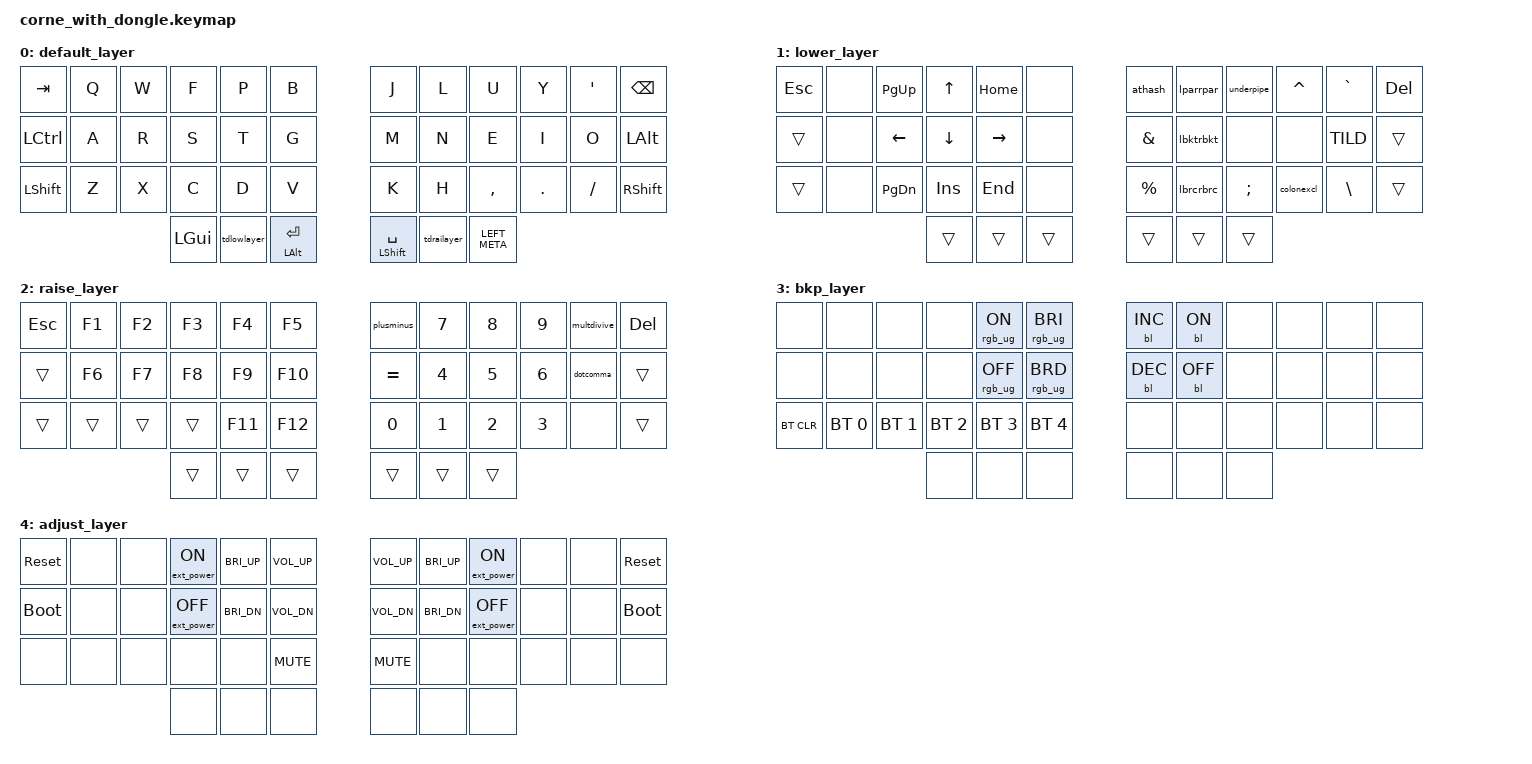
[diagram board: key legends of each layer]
/*
 * Copyright (c) 2020 The ZMK Contributors
 *
 * SPDX-License-Identifier: MIT
 */

#include <behaviors.dtsi>
#include <dt-bindings/zmk/keys.h>
#include <dt-bindings/zmk/bt.h>
#include <dt-bindings/zmk/rgb.h>
#include <dt-bindings/zmk/backlight.h>
#include <dt-bindings/zmk/ext_power.h>

#define DEFAULT 0
#define LOW_L   1
#define RAI_L   2
#define BKS_L   3
#define ADJ_L   4

/ {
        conditional_layers {
                compatible = "zmk,conditional-layers";
                one_and_two_layer {
                        if-layers = <LOW_L RAI_L>;
                        then-layer = <BKS_L>;
                };
                /*
                one_and_tree_layer {
                        if-layers = <1 3>;
                        then-layer = <4>;
                };
                two_and_tree_layer {
                        if-layers = <2 3>;
                        then-layer = <4>;
                };*/
        };
       
        behaviors {               
                colonexcl: colon_excl {
                        compatible = "zmk,behavior-mod-morph";
                        label = "COLON_EXCL";
                        #binding-cells = <0>;
                        bindings = <&kp COLON>, <&kp EXCL>;
                        mods = <(MOD_LSFT|MOD_RSFT)>;
                };
                underpipe: under_pipe {
                        compatible = "zmk,behavior-mod-morph";
                        label = "UNDER_PIPE";
                        #binding-cells = <0>;
                        bindings = <&kp UNDER>, <&kp PIPE>;
                        mods = <(MOD_LSFT|MOD_RSFT)>;
                };
                athash: at_hash {
                        compatible = "zmk,behavior-mod-morph";
                        label = "AT_HASH";
                        #binding-cells = <0>;
                        bindings = <&kp AT>, <&kp HASH>;
                        mods = <(MOD_LSFT|MOD_RSFT)>;
                };
                bkspdel: bksp_del {
                        compatible = "zmk,behavior-mod-morph";
                        label = "BKSP_DEL";
                        #binding-cells = <0>;
                        bindings = <&kp BKSP>, <&kp DEL>;
                        mods = <(MOD_LSFT|MOD_RSFT)>;
                };
                lparrpar: lpar_rpar {
                        compatible = "zmk,behavior-mod-morph";
                        label = "LPAR_RPAR";
                        #binding-cells = <0>;
                        bindings = <&kp LPAR>, <&kp RPAR>;
                        mods = <(MOD_LSFT|MOD_RSFT)>;
                };
                lbktrbkt: lbkt_rbkt {
                        compatible = "zmk,behavior-mod-morph";
                        label = "LBKT_RBKT";
                        #binding-cells = <0>;
                        bindings = <&kp LBKT>, <&kp RBKT>;
                        mods = <(MOD_LSFT|MOD_RSFT)>;
                };
                lbrcrbrc: lbrc_rbrc {
                        compatible = "zmk,behavior-mod-morph";
                        label = "LBRC_RBRC";
                        #binding-cells = <0>;
                        bindings = <&kp LBRC>, <&kp RBRC>;
                        mods = <(MOD_LSFT|MOD_RSFT)>;
                };
                plusminus: plus_minus {
                        compatible = "zmk,behavior-mod-morph";
                        label = "PLUS_MINUS";
                        #binding-cells = <0>;
                        bindings = <&kp KP_PLUS>, <&kp KP_MINUS>;
                        mods = <(MOD_LSFT|MOD_RSFT)>;
                };
                multdivive: mult_divive {
                        compatible = "zmk,behavior-mod-morph";
                        label = "MULT_DIVIDE";
                        #binding-cells = <0>;
                        bindings = <&kp KP_MULTIPLY>, <&kp KP_DIVIDE>;
                        mods = <(MOD_LSFT|MOD_RSFT)>;
                };
                dotcomma: dot_comma {
                        compatible = "zmk,behavior-mod-morph";
                        label = "DOT_COMMA";
                        #binding-cells = <0>;
                        bindings = <&kp DOT>, <&kp COMMA>;
                        mods = <(MOD_LSFT|MOD_RSFT)>;
                };
                tdlowlayer: td_low_layer {
                        compatible = "zmk,behavior-tap-dance";
                        label = "TD_LOW_LAYER";
                        #binding-cells = <0>;
                        tapping-term-ms = <2000>;
                        bindings = <&mo LOW_L>, <&to LOW_L>, <&to BKS_L>, <&to ADJ_L>;

                };
                tdrailayer: td_raise_layer {
                        compatible = "zmk,behavior-tap-dance";
                        label = "TD_RAISE_LAYER";
                        #binding-cells = <0>;
                        tapping-term-ms = <2000>;
                        bindings = <&mo RAI_L>, <&to RAI_L>, <&to BKS_L>, <&to ADJ_L>;
                };
        };
        
        keymap {
                compatible = "zmk,keymap";

                default_layer {
                        bindings = <
// ╭───────────────┬───────────────┬───────────────┬───────────────┬───────────────┬───────────────╮   ╭───────────────┬───────────────┬───────────────┬───────────────┬───────────────┬───────────────╮
   &kp TAB         &kp Q           &kp W           &kp F           &kp P           &kp B               &kp J           &kp L           &kp U           &kp Y           &kp SQT         &kp BKSP
// ├───────────────┼───────────────┼───────────────┼───────────────┼───────────────┼───────────────┤   ├───────────────┼───────────────┼───────────────┼───────────────┼───────────────┼───────────────┤
   &kp LCTRL       &kp A           &kp R           &kp S           &kp T           &kp G               &kp M           &kp N           &kp E           &kp I           &kp O           &kp LALT
// ├───────────────┼───────────────┼───────────────┼───────────────┼───────────────┼───────────────┤   ├───────────────┼───────────────┼───────────────┼───────────────┼───────────────┼───────────────┤
   &kp LSHFT       &kp Z           &kp X           &kp C           &kp D           &kp V               &kp K           &kp H           &kp COMMA       &kp DOT         &kp SLASH       &kp RSHFT
// ╰───────────────┴───────────────┴───────────────┼───────────────┼───────────────┼───────────────┤   ├───────────────┼───────────────┼───────────────┼───────────────┴───────────────┴───────────────╯
                                                   &kp LEFT_GUI    &tdlowlayer     &mt LALT RETURN    &mt LSHFT SPACE  &tdrailayer     &kp LEFT_META
//                                                 ╰───────────────┴───────────────┴───────────────╯   ╰───────────────┴───────────────┴───────────────╯
                        >;
                };
    
                lower_layer {
                        bindings = <
// ╭───────────────┬───────────────┬───────────────┬───────────────┬───────────────┬───────────────╮   ╭───────────────┬───────────────┬───────────────┬───────────────┬───────────────┬───────────────╮
   &kp ESC         &none           &kp PG_UP       &kp UP          &kp HOME        &none               &athash         &lparrpar       &underpipe      &kp CARET       &kp GRAVE       &kp DEL 
// ├───────────────┼───────────────┼───────────────┼───────────────┼───────────────┼───────────────┤   ├───────────────┼───────────────┼───────────────┼───────────────┼───────────────┼───────────────┤
   &trans          &none           &kp LEFT        &kp DOWN        &kp RIGHT       &none               &kp AMPERSAND   &lbktrbkt       &none           &none           &kp TILD        &trans
// ├───────────────┼───────────────┼───────────────┼───────────────┼───────────────┼───────────────┤   ├───────────────┼───────────────┼───────────────┼───────────────┼───────────────┼───────────────┤
   &trans          &none           &kp PG_DN       &kp INSERT      &kp END         &none               &kp PERCENT     &lbrcrbrc       &kp SEMICOLON   &colonexcl      &kp BACKSLASH   &trans
// ╰───────────────┴───────────────┴───────────────┼───────────────┼───────────────┼───────────────┤   ├───────────────┼───────────────┼───────────────┼───────────────┴───────────────┴───────────────╯
                                                   &trans          &trans          &trans              &trans          &trans          &trans
//                                                 ╰───────────────┴───────────────┴───────────────╯   ╰───────────────┴───────────────┴───────────────╯
                        >;
                };

                raise_layer {
                        bindings = <
// ╭───────────────┬───────────────┬───────────────┬───────────────┬───────────────┬───────────────╮   ╭───────────────┬───────────────┬───────────────┬───────────────┬───────────────┬───────────────╮
   &kp ESC         &kp F1          &kp F2          &kp F3          &kp F4          &kp F5              &plusminus      &kp N7          &kp N8          &kp N9          &multdivive     &kp DEL
// ├───────────────┼───────────────┼───────────────┼───────────────┼───────────────┼───────────────┤   ├───────────────┼───────────────┼───────────────┼───────────────┼───────────────┼───────────────┤
   &trans          &kp F6          &kp F7          &kp F8          &kp F9          &kp F10             &kp EQUAL       &kp N4          &kp N5          &kp N6          &dotcomma       &trans
// ├───────────────┼───────────────┼───────────────┼───────────────┼───────────────┼───────────────┤   ├───────────────┼───────────────┼───────────────┼───────────────┼───────────────┼───────────────┤
   &trans          &trans          &trans          &trans          &kp F11         &kp F12             &kp N0          &kp N1          &kp N2          &kp N3          &none           &trans
// ╰───────────────┴───────────────┴───────────────┼───────────────┼───────────────┼───────────────┤   ├───────────────┼───────────────┼───────────────┼───────────────┴───────────────┴───────────────╯
                    	                           &trans          &trans          &trans              &trans          &trans          &trans
//                                                 ╰───────────────┴───────────────┴───────────────╯   ╰───────────────┴───────────────┴───────────────╯
                        >;
                };

                bkp_layer {
                        bindings = <
// ╭───────────────┬───────────────┬───────────────┬───────────────┬───────────────┬───────────────╮   ╭───────────────┬───────────────┬───────────────┬───────────────┬───────────────┬───────────────╮
   &none           &none           &none           &none           &rgb_ug RGB_ON  &rgb_ug RGB_BRI     &bl BL_INC      &bl BL_ON       &none           &none           &none           &none           
// ├───────────────┼───────────────┼───────────────┼───────────────┼───────────────┼───────────────┤   ├───────────────┼───────────────┼───────────────┼───────────────┼───────────────┼───────────────┤
   &none           &none           &none           &none           &rgb_ug RGB_OFF &rgb_ug RGB_BRD     &bl BL_DEC      &bl BL_OFF      &none           &none           &none           &none           
// ├───────────────┼───────────────┼───────────────┼───────────────┼───────────────┼───────────────┤   ├───────────────┼───────────────┼───────────────┼───────────────┼───────────────┼───────────────┤
   &bt BT_CLR      &bt BT_SEL 0    &bt BT_SEL 1    &bt BT_SEL 2    &bt BT_SEL 3    &bt BT_SEL 4        &none           &none           &none           &none           &none           &none           
// ╰───────────────┴───────────────┴───────────────┼───────────────┼───────────────┼───────────────┤   ├───────────────┼───────────────┼───────────────┼───────────────┴───────────────┴───────────────╯
                    	                           &none           &none           &none               &none           &none           &none           
//                                                 ╰───────────────┴───────────────┴───────────────╯   ╰───────────────┴───────────────┴───────────────╯
                        >;
                };

                adjust_layer {
                        bindings = <
// ╭───────────────┬───────────────┬───────────────┬───────────────┬───────────────┬───────────────╮   ╭───────────────┬───────────────┬───────────────┬───────────────┬───────────────┬───────────────╮
   &sys_reset      &none           &none           &ext_power EP_ON &kp C_BRI_UP   &kp C_VOL_UP        &kp C_VOL_UP    &kp C_BRI_UP    &ext_power EP_ON &none          &none           &sys_reset 
// ├───────────────┼───────────────┼───────────────┼───────────────┼───────────────┼───────────────┤   ├───────────────┼───────────────┼───────────────┼───────────────┼───────────────┼───────────────┤
   &bootloader     &none           &none           &ext_power EP_OFF &kp C_BRI_DN  &kp C_VOL_DN        &kp C_VOL_DN    &kp C_BRI_DN    &ext_power EP_OFF &none         &none           &bootloader
// ├───────────────┼───────────────┼───────────────┼───────────────┼───────────────┼───────────────┤   ├───────────────┼───────────────┼───────────────┼───────────────┼───────────────┼───────────────┤
   &none           &none           &none           &none           &none           &kp C_MUTE          &kp C_MUTE      &none           &none           &none           &none           &none
// ╰───────────────┴───────────────┴───────────────┼───────────────┼───────────────┼───────────────┤   ├───────────────┼───────────────┼───────────────┼───────────────┴───────────────┴───────────────╯
                                                   &none           &none           &none               &none           &none           &none
//                                                 ╰───────────────┴───────────────┴───────────────╯   ╰───────────────┴───────────────┴───────────────╯
                        >;
                };
        };
};
